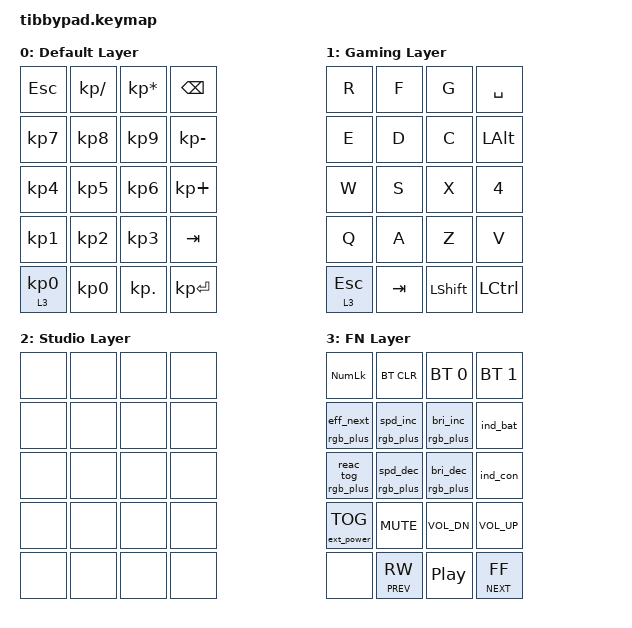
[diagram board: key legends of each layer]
#include <behaviors.dtsi>
#include <dt-bindings/zmk/keys.h>
#include <dt-bindings/zmk/rgb.h>
#include <dt-bindings/zmk/bt.h>
#include <dt-bindings/zmk/ext_power.h>
#include <behaviors/rgbled_widget.dtsi>
#include <dt-bindings/zmk/rgb_plus.h>

/ {
  behaviors {
    rgb_plus: rgb_plus {
      compatible = "zmk,behavior-rgb-plus";
      label = "RGB_PLUS";
      #binding-cells = <1>;
    };
  };

  combos {
    compatible = "zmk,combos";
    combo_l0 {
      timeout-ms = <50>;
      key-positions = <16 17>;
      bindings = <&to 0>;
    };
    combo_l1 {
      timeout-ms = <50>;
      key-positions = <16 18>;
      bindings = <&to 1>;
    };
    combo_l2 {
      timeout-ms = <50>;
      key-positions = <16 19>;
      bindings = <&to 2>;
    };
    combo_l3 {
      timeout-ms = <50>;
      key-positions = <12 16>;
      bindings = <&to 3>;
    };
  };
};

/ {
  keymap {
    compatible = "zmk,keymap";

    default_layer { // layer 0
      display-name = "Default Layer";
      bindings = <
        &kp ESC      &kp KP_DIVIDE  &kp KP_MULTIPLY   &kp BSPC
        &kp KP_N7    &kp KP_N8      &kp KP_N9         &kp KP_MINUS
        &kp KP_N4    &kp KP_N5      &kp KP_N6         &kp KP_PLUS
        &kp KP_N1    &kp KP_N2      &kp KP_N3         &kp TAB
        &lt 3 KP_N0  &kp KP_N0      &kp KP_DOT        &kp KP_ENTER
      >;
    };
    gaming_layer { // layer 1
      display-name = "Gaming Layer";
      bindings = <
        &kp R       &kp F     &kp G       &kp SPACE
        &kp E       &kp D     &kp C       &kp LALT  
        &kp W       &kp S     &kp X       &kp N4
        &kp Q       &kp A     &kp Z       &kp V
        &lt 3 ESC   &kp TAB   &kp LSHFT   &kp LCTRL
      >;
    };
    studio_layer { // layer 2
      display-name = "Studio Layer";
      bindings = <
        &none &none &none &none
        &none &none &none &none
        &none &none &none &none
        &none &none &none &none
        &none &none &none &none
      >;
    };
    fn_layer { // layer 3
      display-name = "FN Layer";
      bindings = <
        &kp KP_NUM          &bt BT_CLR          &bt BT_SEL 0        &bt BT_SEL 1
        &rgb_plus eff_next  &rgb_plus spd_inc   &rgb_plus bri_inc   &ind_bat
        &rgb_plus reac_tog  &rgb_plus spd_dec   &rgb_plus bri_dec   &ind_con
        &ext_power EP_TOG   &kp C_MUTE          &kp C_VOL_DN        &kp C_VOL_UP
        &none               &mt C_PREV C_RW     &kp C_PLAY_PAUSE    &mt C_NEXT C_FF
      >;
    };
  };
};
